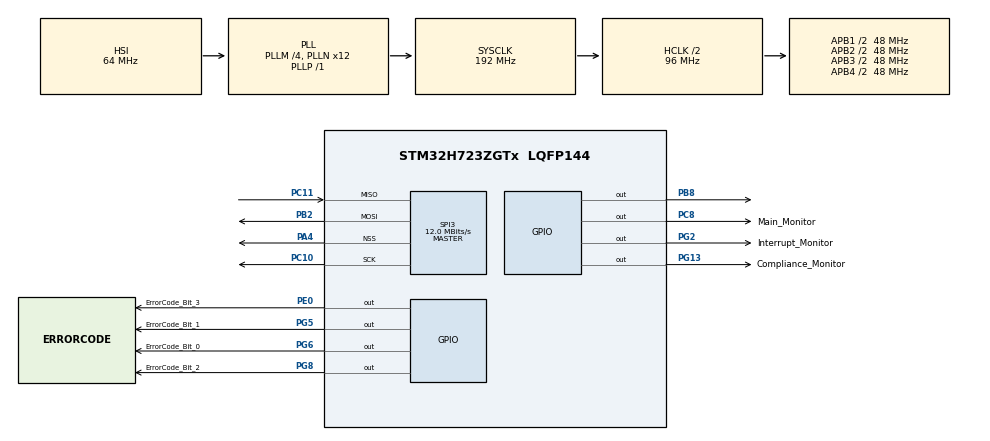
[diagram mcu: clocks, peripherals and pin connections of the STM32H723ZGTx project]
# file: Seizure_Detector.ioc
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CORTEX_M7.default_mode_Activation=1
Dma.Request0=SPI3_RX
Dma.Request1=SPI3_TX
Dma.SPI3_RX.0.Direction=DMA_PERIPH_TO_MEMORY
Dma.SPI3_RX.0.EventEnable=DISABLE
Dma.SPI3_RX.0.FIFOMode=DMA_FIFOMODE_DISABLE
Dma.SPI3_RX.0.Instance=DMA1_Stream0
Dma.SPI3_RX.0.MemDataAlignment=DMA_MDATAALIGN_WORD
Dma.SPI3_RX.0.MemInc=DMA_MINC_ENABLE
Dma.SPI3_RX.0.Mode=DMA_NORMAL
Dma.SPI3_RX.0.PeriphDataAlignment=DMA_PDATAALIGN_WORD
Dma.SPI3_RX.0.PeriphInc=DMA_PINC_DISABLE
Dma.SPI3_RX.0.Polarity=HAL_DMAMUX_REQ_GEN_RISING
Dma.SPI3_RX.0.Priority=DMA_PRIORITY_VERY_HIGH
Dma.SPI3_RX.0.RequestNumber=1
Dma.SPI3_RX.0.SignalID=NONE
Dma.SPI3_RX.0.SyncEnable=DISABLE
Dma.SPI3_RX.0.SyncPolarity=HAL_DMAMUX_SYNC_NO_EVENT
Dma.SPI3_RX.0.SyncRequestNumber=1
Dma.SPI3_RX.0.SyncSignalID=NONE
Dma.SPI3_TX.1.Direction=DMA_MEMORY_TO_PERIPH
Dma.SPI3_TX.1.EventEnable=DISABLE
Dma.SPI3_TX.1.FIFOMode=DMA_FIFOMODE_DISABLE
Dma.SPI3_TX.1.Instance=DMA1_Stream1
Dma.SPI3_TX.1.MemDataAlignment=DMA_MDATAALIGN_WORD
Dma.SPI3_TX.1.MemInc=DMA_MINC_ENABLE
Dma.SPI3_TX.1.Mode=DMA_NORMAL
Dma.SPI3_TX.1.PeriphDataAlignment=DMA_PDATAALIGN_WORD
Dma.SPI3_TX.1.PeriphInc=DMA_PINC_DISABLE
Dma.SPI3_TX.1.Polarity=HAL_DMAMUX_REQ_GEN_RISING
Dma.SPI3_TX.1.Priority=DMA_PRIORITY_VERY_HIGH
Dma.SPI3_TX.1.RequestNumber=1
Dma.SPI3_TX.1.SignalID=NONE
Dma.SPI3_TX.1.SyncEnable=DISABLE
Dma.SPI3_TX.1.SyncPolarity=HAL_DMAMUX_SYNC_NO_EVENT
Dma.SPI3_TX.1.SyncRequestNumber=1
Dma.SPI3_TX.1.SyncSignalID=NONE
Mcu.Family=STM32H7
Mcu.Name=STM32H723ZGTx
Mcu.Package=LQFP144
NUCLEO-H723ZG.BUTTON=1
NUCLEO-H723ZG.Bsp_Common_DEMO=true
NUCLEO-H723ZG.LD1=true
NUCLEO-H723ZG.LD2=true
NUCLEO-H723ZG.LD3=true
NUCLEO-H723ZG.VCP=true
NVIC.DMA1_Stream0_IRQn=true\:0\:0\:false\:false\:true\:false\:true\:true
NVIC.DMA1_Stream1_IRQn=true\:0\:0\:false\:false\:true\:false\:true\:true
NVIC.EXTI15_10_IRQn=true\:0\:0\:false\:false\:true\:false\:true\:true
NVIC.PriorityGroup=NVIC_PRIORITYGROUP_4
NVIC.SPI3_IRQn=true\:0\:0\:false\:false\:true\:false\:true\:true
NVIC.TIM3_IRQn=true\:1\:0\:true\:false\:true\:true\:true\:true
PA13(JTMS/SWDIO).GPIO_Label=SWDIO
PA13(JTMS/SWDIO).Signal=DEBUG_JTMS-SWDIO
PA14(JTCK/SWCLK).GPIO_Label=SWCLK
PA14(JTCK/SWCLK).Signal=DEBUG_JTCK-SWCLK
PA4.GPIO_Speed=GPIO_SPEED_FREQ_VERY_HIGH
PA4.Mode=NSS_Signal_Hard_Output
PA4.Signal=SPI3_NSS
PB2.GPIO_Speed=GPIO_SPEED_FREQ_VERY_HIGH
PB2.Mode=Full_Duplex_Master
PB2.Signal=SPI3_MOSI
PB8.Signal=GPIO_Output
PC10.GPIO_Speed=GPIO_SPEED_FREQ_VERY_HIGH
PC10.Mode=Full_Duplex_Master
PC10.Signal=SPI3_SCK
PC11.GPIO_Speed=GPIO_SPEED_FREQ_VERY_HIGH
PC11.Mode=Full_Duplex_Master
PC11.Signal=SPI3_MISO
PC14-OSC32_IN.Signal=RCC_OSC32_IN
PC15-OSC32_OUT.Signal=RCC_OSC32_OUT
PC8.GPIO_Label=Main_Monitor
PC8.GPIO_Speed=GPIO_SPEED_FREQ_VERY_HIGH
PC8.Signal=GPIO_Output
PD8.Signal=USART3_TX
PD9.Signal=USART3_RX
PE0.GPIO_Label=ErrorCode_Bit_3
PE0.GPIO_Speed=GPIO_SPEED_FREQ_VERY_HIGH
PE0.Signal=GPIO_Output
PG13.GPIO_Label=Compliance_Monitor
PG13.GPIO_Speed=GPIO_SPEED_FREQ_VERY_HIGH
PG13.Signal=GPIO_Output
PG2.GPIO_Label=Interrupt_Monitor
PG2.GPIO_Speed=GPIO_SPEED_FREQ_VERY_HIGH
PG2.Signal=GPIO_Output
PG5.GPIO_Label=ErrorCode_Bit_1
PG5.GPIO_Speed=GPIO_SPEED_FREQ_VERY_HIGH
PG5.Signal=GPIO_Output
PG6.GPIO_Label=ErrorCode_Bit_0
PG6.GPIO_Speed=GPIO_SPEED_FREQ_VERY_HIGH
PG6.Signal=GPIO_Output
PG8.GPIO_Label=ErrorCode_Bit_2
PG8.GPIO_Speed=GPIO_SPEED_FREQ_VERY_HIGH
PG8.Signal=GPIO_Output
ProjectManager.HeapSize=0x200
ProjectManager.StackSize=0x400
ProjectManager.TargetToolchain=STM32CubeIDE
RCC.ADCFreq_Value=608000000
RCC.APB1Freq_Value=48000000
RCC.APB2Freq_Value=48000000
RCC.APB3Freq_Value=48000000
RCC.APB4Freq_Value=48000000
RCC.CortexFreq_Value=192000000
RCC.D1PPRE=RCC_APB3_DIV2
RCC.D2PPRE1=RCC_APB1_DIV2
RCC.D2PPRE2=RCC_APB2_DIV2
RCC.D3PPRE=RCC_APB4_DIV2
RCC.DIVM1=4
RCC.DIVM2=1
RCC.DIVN1=12
RCC.DIVN2=19
RCC.DIVP1=1
RCC.DIVQ1=4
RCC.HCLKFreq_Value=96000000
RCC.HPRE=RCC_HCLK_DIV2
RCC.HSE_VALUE=8000000
RCC.PLLFRACN=0
RCC.SYSCLKFreq_VALUE=192000000
RCC.SYSCLKSource=RCC_SYSCLKSOURCE_PLLCLK
RCC.USBCLockSelection=RCC_USBCLKSOURCE_HSI48
RCC.USBFreq_Value=48000000
SPI3.BaudRatePrescaler=SPI_BAUDRATEPRESCALER_4
SPI3.CalculateBaudRate=12.0 MBits/s
SPI3.DataSize=SPI_DATASIZE_32BIT
SPI3.Direction=SPI_DIRECTION_2LINES
SPI3.MasterInterDataIdleness=SPI_MASTER_INTERDATA_IDLENESS_06CYCLE
SPI3.MasterKeepIOState=SPI_MASTER_KEEP_IO_STATE_ENABLE
SPI3.MasterSSIdleness=SPI_MASTER_SS_IDLENESS_00CYCLE
SPI3.Mode=SPI_MODE_MASTER
SPI3.VirtualNSS=VM_NSSHARD
SPI3.VirtualType=VM_MASTER
TIM3.Channel-Output\ Compare1\ No\ Output=TIM_CHANNEL_1
TIM3.Period=13750
VP_MEMORYMAP_VS_MEMORYMAP.Mode=CurAppReg
VP_NUCLEO-H723ZG_VS_BSP_COMMON.Mode=COMMON
VP_TIM3_VS_no_output1.Mode=Output Compare1 No Output
board=NUCLEO-H723ZG

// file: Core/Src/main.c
/* USER CODE BEGIN Header */
/**
  ******************************************************************************
  * @file           : main.c
  * @brief          : Main program body
  ******************************************************************************
  * @attention
  *
  * Copyright (c) 2026 STMicroelectronics.
  * All rights reserved.
  *
  * This software is licensed under terms that can be found in the LICENSE file
  * in the root directory of this software component.
  * If no LICENSE file comes with this software, it is provided AS-IS.
  *
  ******************************************************************************
  */
/* USER CODE END Header */
#include "main.h"

/* USER CODE BEGIN Includes */
#include "seizure_detect.h"
#include "ied_detect.h"
#include "input_buffer.h"
#include "uart_recieve.h"
#include "user_functions.h"

#include <stdio.h>
#include <stdint.h>
#include <stdbool.h>
#include <inttypes.h>

/* USER CODE END Includes */

COM_InitTypeDef BspCOMInit;
__IO uint32_t BspButtonState = BUTTON_RELEASED;

SPI_HandleTypeDef hspi3;
DMA_HandleTypeDef hdma_spi3_rx;
DMA_HandleTypeDef hdma_spi3_tx;

TIM_HandleTypeDef htim3;

void SystemClock_Config(void);
static void MPU_Config(void);
static void MX_GPIO_Init(void);
static void MX_DMA_Init(void);
static void MX_SPI3_Init(void);
static void MX_TIM3_Init(void);

/* USER CODE BEGIN 0 */
#define BLOCK_SIZE 500
#define SAMP_FREQ 5000
#define SAMP_PERIOD_US (1000000U / SAMP_FREQ)
#define BLOCK_PERIOD_US ((BLOCK_SIZE * 1000000U) / SAMP_FREQ)

static void handle_detect_event(detect_event_t ev, const char *block_name, uint64_t block_time_us){
	switch (ev) {
	case DETECT_SEIZURE_ONSET_LL:
		BSP_LED_Toggle(LED_GREEN);
		printf("LL DETECTED (%s), %lu\r\n", block_name, block_time_us);
		break;

    case DETECT_SEIZURE_ONSET_RMS:
        BSP_LED_Toggle(LED_YELLOW);
        printf("RMS DETECTED (%s), %lu\r\n", block_name, block_time_us);
        break;

    case DETECT_SEIZURE_ONSET_BOTH:
        BSP_LED_Toggle(LED_RED);
        printf("BOTH DETECTED (%s), %lu\r\n", block_name, block_time_us);
        break;

    case DETECT_NO_EVENT:
    default:
        break;
	}
}

static bool rhs_lvds_loopback_test(void){
    uint32_t tx[] = {
        0xA5C33C5AU,
        0xC0FF0000U,
        0x12345678U,
        0x00000000U,
        0xFFFFFFFFU
    };

    uint32_t rx[sizeof(tx) / sizeof(tx[0])] = {0};

    const uint16_t word_count =
        (uint16_t)(sizeof(tx) / sizeof(tx[0]));

    HAL_StatusTypeDef status = HAL_SPI_TransmitReceive(
        &hspi3,
        (const uint8_t *)tx,
        (uint8_t *)rx,
        word_count,
        100U
    );

    if (status != HAL_OK) {
        printf(
            "LVDS loopback failed: status=%d error=0x%08lX\r\n",
            (int)status,
            (unsigned long)HAL_SPI_GetError(&hspi3)
        );
        return false;
    }

    bool passed = true;

    printf("\r\nLVDS round-trip loopback\r\n");

    for (uint32_t i = 0U; i < word_count; i++) {
        printf(
            "[%lu] TX=0x%08lX RX=0x%08lX %s\r\n",
            (unsigned long)i,
            (unsigned long)tx[i],
            (unsigned long)rx[i],
            tx[i] == rx[i] ? "PASS" : "FAIL"
        );

        if (tx[i] != rx[i]) {
            passed = false;
        }
    }

    printf(
        "LVDS round-trip loopback: %s\r\n",
        passed ? "PASS" : "FAIL"
    );

    return passed;
}

static bool rhs_spi_rom_test(void){
	uint32_t spi_tx[7] = {
		read_command(255, false, false),
		read_command(254, false, false),
		read_command(253, false, false),
		read_command(252, false, false),
		read_command(251, false, false),

		/* Two extra commands flush the two-command pipeline. */
		read_command(255, false, false),
		read_command(255, false, false)
	};

	uint32_t spi_rx[7] = {0};

	HAL_StatusTypeDef status = HAL_SPI_TransmitReceive(&hspi3, (const uint8_t *)spi_tx, (uint8_t *)spi_rx, 7U, 100U);

	 if (status != HAL_OK){
		printf("SPI transfer failed: status=%d error=0x%08lX\r\n",
			   (int)status,
			   (unsigned long)HAL_SPI_GetError(&hspi3));

		return false;
	 }

	 printf("\r\nRaw SPI transaction:\r\n");

	 for (uint32_t i = 0U; i < 7U; i++) {
	     printf(
	         "[%" PRIu32 "] TX=0x%08" PRIX32
	         " RX=0x%08" PRIX32 "\r\n",
	         i,
	         spi_tx[i],
	         spi_rx[i]
	     );
	 }

	 /*
	  * The RHS2116 returns each command result two SPI cycles later.
	  *
	  * spi_rx[0] and spi_rx[1] contain previous/undefined pipeline results.
	  * spi_rx[2] is the result of spi_tx[0].
	  * spi_rx[3] is the result of spi_tx[1].
	  * ...
	  * spi_rx[6] is the result of spi_tx[4].
	  *
	  * spi_tx[5] and spi_tx[6] provide the extra clock cycles needed
	  * to receive the final two requested register values.
	  */
	uint16_t chip_id     = (uint16_t)(spi_rx[2] & 0xFFFFU);
	uint16_t revision_ch = (uint16_t)(spi_rx[3] & 0xFFFFU);
	uint16_t intan_nul   = (uint16_t)(spi_rx[4] & 0xFFFFU);
	uint16_t intan_ta    = (uint16_t)(spi_rx[5] & 0xFFFFU);
	uint16_t intan_in    = (uint16_t)(spi_rx[6] & 0xFFFFU);

	printf("\r\nRHS2116 ROM test\r\n");
	printf("Register 255: 0x%04X\r\n", chip_id);
	printf("Register 254: 0x%04X\r\n", revision_ch);
	printf("Register 253: 0x%04X\r\n", intan_nul);
	printf("Register 252: 0x%04X\r\n", intan_ta);
	printf("Register 251: 0x%04X\r\n", intan_in);

	bool passed =
		chip_id == 0x0020U &&
		(revision_ch & 0x00FFU) == 0x0010U &&
		intan_nul == 0x4E00U &&
		intan_ta  == 0x5441U &&
		intan_in  == 0x494EU;

	printf("ROM test: %s\r\n", passed ? "PASS" : "FAIL");

	return passed;
}

/* USER CODE END 0 */

int main(void)
{

  /* USER CODE BEGIN 1 */
	static int32_t buffer_storage[BLOCK_SIZE * 2];
	static input_buffer_t input_buf;
	int32_t *ping_ptr = NULL;
	int32_t *pong_ptr = NULL;

	// Intialization seizure detection structs
	detect_params_t detect_params = {
			.alpha = 0.01f,
			.k_ll = 2.25f,
			.k_rms = 2.25f,
			.min_std = 1.0f,
			.persist_blocks = 8,
			.warmup_blocks = 80,
			.refractory_us = 500000};

	detect_state_t detect_state;
	detect_event_t ev;

	// Intialization IED detection structs
	ied_params_t ied_params = {
	    .fs_hz = SAMP_FREQ,

	    .env_k = 5.0f,
	    .amp_min_k = 10.0f,
	    .amp_artifact_k = 30.0f,

	    .baseline_alpha = 0.00002f,
	    .min_std = 1.0f,

	    .warmup_samples = SAMP_FREQ * 5,     // 1 seconds baseline at SAMP_FREQ kHz
	    .refractory_us = 3000000,         	// 3 seconds

		.envelope_window_samples = (SAMP_FREQ * 5U) / 1000U,    // Samples of envelope smoothing

		.candidate_window_samples = (SAMP_FREQ * 10U) / 1000U, // 10 ms
		.raw_abs_artifact_limit = 9000.0f,                     // for GAIN=1000 and ~±10 mV clipping
	};

	ied_state_t ied_state;

	// Count of how many blocks have been processed
	uint64_t block_time_us = 0;

  /* USER CODE END 1 */

  /* MPU Configuration--------------------------------------------------------*/
  MPU_Config();

  /* MCU Configuration--------------------------------------------------------*/

  /* Reset of all peripherals, Initializes the Flash interface and the Systick. */
  HAL_Init();

  /* Configure the system clock */
  SystemClock_Config();

  // Wait for 500 ms after program starts.
  // This is due to a STM32CubeIDE-related bug that runs previously loaded software briefly on the target device
  // before running the new software when downloading and running new code. This doesn't happen when triggering a hardware
  // reset, for example pushing the RESET button on a NUCLEO board, or when downloading/running using
  // STM32CubeProgrammer. For these cases, this delay can be removed.
  // When this bug does occur, we recommend including a delay of ~500 ms so that this brief running of the previously
  // loaded program doesn't have any interaction with any peripherals and this re-run program does nothing important.
  // In practice, 50 ms is likely enough of a pause from our testing, but 500 ms is even safer.
  wait_ms(500);

  /* Initialize all configured peripherals */
  MX_GPIO_Init();
  MX_DMA_Init();
  MX_SPI3_Init();
  MX_TIM3_Init();

  /* Stop here so the normal acquisition code does not start. */
//  while (1) {
//      HAL_Delay(1000U);
//  }

  // Write register value to pause all used timers when execution pauses during debug
  SET_BIT(DBGMCU->APB1LFZ1, 0b10); // enable pausing TIM3 during debug

  // Allocate sample_memory array which will be used to store acquired data.
  allocate_sample_memory();

  // Set up SPI DMA configuration for when SPI transfers begin.
  initialize_spi_with_dma();

  initialize_stim_sequences();
  initialize_command_buffer();

  // Initialize Intan chip registers with suitable settings for this application.
  // This not only determines the initial registers, but actually writes them via SPI.
  configure_registers();

  // Populate first CONVERT_COMMANDS_PER_SEQUENCE that will repeatedly
  // convert for each sample interrupt.
  // Note that this doesn't touch the aux commands in command_sequence_MOSI.
  configure_convert_commands();

#ifdef AUTO_STIM_CMD_MODE
  configure_stim_sequences();
  process_stim_sequences();
#else
  configure_aux_commands();
#endif

  copy_next_aux_commands_to_MOSI();

  /* USER CODE END 2 */

  /* Initialize leds */
  BSP_LED_Init(LED_GREEN);
  BSP_LED_Init(LED_YELLOW);
  BSP_LED_Init(LED_RED);

  /* Initialize USER push-button, will be used to trigger an interrupt each time it's pressed.*/
  BSP_PB_Init(BUTTON_USER, BUTTON_MODE_EXTI);

  /* Initialize COM1 port (921600, 8 bits (7-bit data + 1 stop bit), no parity */
  BspCOMInit.BaudRate   = 921600;
  BspCOMInit.WordLength = COM_WORDLENGTH_8B;
  BspCOMInit.StopBits   = COM_STOPBITS_1;
  BspCOMInit.Parity     = COM_PARITY_NONE;
  BspCOMInit.HwFlowCtl  = COM_HWCONTROL_NONE;
  if (BSP_COM_Init(COM1, &BspCOMInit) != BSP_ERROR_NONE)
  {
    Error_Handler();
  }

  /* USER CODE BEGIN BSP */
  /* Initialize buffer and UART RX module */
//  buffer_init(&input_buf, buffer_storage, SAMP_FREQ, BLOCK_SIZE);
  HAL_NVIC_SetPriority(USART3_IRQn, 2, 0);
  HAL_NVIC_EnableIRQ(USART3_IRQn);
//  uart_rx_init(&input_buf);
//  detect_init(&detect_state, &detect_params);
//  ied_init(&ied_state, &ied_params);
//  uart_rx_start();

  /* USER CODE BEGIN 2 */
//  printf("\r\nStarting RHS2116 SPI ROM test...\r\n");
//
//    /*
//     * Give the headstage and interface electronics time to settle
//     * before issuing the first command.
//     */
//  HAL_Delay(100U);
//
//  bool rhs_detected = false;
//
//  for (uint32_t attempt = 1U; attempt <= 50U; attempt++){
//	  printf("ROM test attempt %" PRIu32 "...\r\n", attempt);
//
//	  rhs_detected = rhs_spi_rom_test();
//
//	  if (rhs_detected){
//		  printf("PASSED!!");
//	  }
//
//  }
//
//  BSP_LED_Off(LED_GREEN);
//  BSP_LED_Off(LED_YELLOW);
//  BSP_LED_Off(LED_RED);
//
//  if (rhs_detected){
//	  BSP_LED_On(LED_GREEN);
//  }
//
//  else{
//	  BSP_LED_On(LED_RED);
//  }
//
//  // Turn on LED to indicate acquisition is about to start.
//  BSP_LED_On(LED_GREEN);

  // Start timer so that at every period defined by INTERRUPT_TIM, an interrupt occurs, starting an SPI command sequence.
  sample_counter = 0;
  sample_interrupt_occurred = false;
  enable_interrupt_timer(true);
  main_loop_active = true;
  main_pin_status = false;

  /* USER CODE END BSP */

  /* Infinite loop */
  /* USER CODE BEGIN WHILE */
  while (1){
	  // Break infinite loop when loop_escape() condition has been met.
	  if (loop_escape()) break;

	  // During infinite loop, monitor if GPIO pin needs writing from low to high
	  if (main_loop_active && !main_pin_status) {
		  write_pin(Main_Monitor_GPIO_Port, Main_Monitor_Pin, true);
		  main_pin_status = true;
	  }

	  if (sample_interrupt_occurred) {
		  sample_processing_routine();
	  }

//	  if (input_buf.ping_ready){
//		  input_buf.ping_ready = 0;
//		  ping_ptr = buffer_get_ping_ptr(&input_buf);
//
//		  // Sample-by-sample IED detection inside this block
//		  for (uint32_t i = 0; i < BLOCK_SIZE; i++) {
//			  uint64_t sample_time_us = block_time_us + ((uint64_t)i * SAMP_PERIOD_US);
//			  uint32_t t_sec = (uint32_t)(sample_time_us / 1000000ULL);
//			  uint32_t t_usec = (uint32_t)(sample_time_us % 1000000ULL);
//
//			  detect_ied_event_t ied_ev = ied_process_sample(&ied_state,
//													  ping_ptr[i],
//													  sample_time_us);
//
//			  if (ied_ev == IED_DETECTED) {
//				  BSP_LED_Toggle(LED_RED);
//				  //printf("IED DETECTED (ping), %lu\r\n", (unsigned long)sample_time_us);
//				  printf("IED DETECTED (ping), %lu.%06lu\r\n",
//						 (unsigned long)t_sec,
//						 (unsigned long)t_usec);
//			  } else if (ied_ev == IED_REJECTED_LOW_AMPLITUDE) {
//				  BSP_LED_Toggle(LED_YELLOW);
//				  printf("IED REJECTED LOW AMP (ping), %lu env=%ld thresh=%ld amp=%ld amin=%ld\r\n",
//						  (unsigned long)sample_time_us,
//						 (int32_t)ied_state.last_envelope,
//						 (int32_t)ied_state.last_env_thresh,
//						 (int32_t)ied_state.last_amp_hp,
//						 (int32_t)ied_state.last_amp_min_thresh);
//			  } else if (ied_ev == IED_REJECTED_ARTIFACT) {
//				  BSP_LED_Toggle(LED_GREEN);
//				  printf("IED REJECTED ARTIFACT (ping), %lu.%06lu\r\n",
//						 (unsigned long)t_sec,
//						 (unsigned long)t_usec);
//			  }
//		  }
//	  /* Seizure Detection component
//	   *
//	   * ev = detect_process_block(&detect_state, ping_ptr, BLOCK_SIZE, block_time_us);
//	   *
//	   * handle_detect_event(ev, "ping", block_time_us);
//	   */
//
//		// process ping block here
//		block_time_us += BLOCK_PERIOD_US;
//
//	  }
//
//	  if (input_buf.pong_ready){
//		  input_buf.pong_ready = 0;
//		  pong_ptr = buffer_get_pong_ptr(&input_buf);
//		  // Sample-by-sample IED detection inside this block
//		  for (uint32_t i = 0; i < BLOCK_SIZE; i++) {
//			  uint64_t sample_time_us = block_time_us + ((uint64_t)i * SAMP_PERIOD_US);
//			  uint32_t t_sec = (uint32_t)(sample_time_us / 1000000ULL);
//			  uint32_t t_usec = (uint32_t)(sample_time_us % 1000000ULL);
//
//
//			  detect_ied_event_t ied_ev = ied_process_sample(&ied_state,
//													  pong_ptr[i],
//													  sample_time_us);
//
//			  if (ied_ev == IED_DETECTED) {
//				  BSP_LED_Toggle(LED_RED);
//				  printf("IED DETECTED (pong), %lu.%06lu\r\n",
//				         (unsigned long)t_sec,
//				         (unsigned long)t_usec);
//			  } else if (ied_ev == IED_REJECTED_LOW_AMPLITUDE) {
//				  BSP_LED_Toggle(LED_YELLOW);
//				  printf("IED REJECTED LOW AMP (pong), %lu env=%ld thresh=%ld amp=%ld amin=%ld\r\n",
//						  (unsigned long)sample_time_us,
//						 (int32_t)ied_state.last_envelope,
//						 (int32_t)ied_state.last_env_thresh,
//						 (int32_t)ied_state.last_amp_hp,
//						 (int32_t)ied_state.last_amp_min_thresh);
//			  } else if (ied_ev == IED_REJECTED_ARTIFACT) {
//				  BSP_LED_Toggle(LED_GREEN);
//				  printf("IED REJECTED ARTIFACT (pong), %lu.%06lu\r\n",
//				         (unsigned long)t_sec,
//				         (unsigned long)t_usec);
//			  }
//		  }
//
//		  // Existing block-based seizure detection
//		  /* Seizure Detection component
//		   *  ev = detect_process_block(&detect_state, pong_ptr, BLOCK_SIZE, block_time_us);
//		   *
//		   * handle_detect_event(ev, "pong", block_time_us);
//		   *
//		   */
//
//		  block_time_us += BLOCK_PERIOD_US;
//
//	  }
    /* USER CODE END WHILE */

  }
}

void SystemClock_Config(void)
{
  RCC_OscInitTypeDef RCC_OscInitStruct = {0};
  RCC_ClkInitTypeDef RCC_ClkInitStruct = {0};

  /** Supply configuration update enable
  */
  HAL_PWREx_ConfigSupply(PWR_LDO_SUPPLY);

  /** Configure the main internal regulator output voltage
  */
  __HAL_PWR_VOLTAGESCALING_CONFIG(PWR_REGULATOR_VOLTAGE_SCALE2);

  while(!__HAL_PWR_GET_FLAG(PWR_FLAG_VOSRDY)) {}

  /** Initializes the RCC Oscillators according to the specified parameters
  * in the RCC_OscInitTypeDef structure.
  */
  RCC_OscInitStruct.OscillatorType = RCC_OSCILLATORTYPE_HSI;
  RCC_OscInitStruct.HSIState = RCC_HSI_DIV1;
  RCC_OscInitStruct.HSICalibrationValue = 64;
  RCC_OscInitStruct.PLL.PLLState = RCC_PLL_ON;
  RCC_OscInitStruct.PLL.PLLSource = RCC_PLLSOURCE_HSI;
  RCC_OscInitStruct.PLL.PLLM = 4;
  RCC_OscInitStruct.PLL.PLLN = 12;
  RCC_OscInitStruct.PLL.PLLP = 1;
  RCC_OscInitStruct.PLL.PLLQ = 4;
  RCC_OscInitStruct.PLL.PLLR = 2;
  RCC_OscInitStruct.PLL.PLLRGE = RCC_PLL1VCIRANGE_3;
  RCC_OscInitStruct.PLL.PLLVCOSEL = RCC_PLL1VCOWIDE;
  RCC_OscInitStruct.PLL.PLLFRACN = 0;
  if (HAL_RCC_OscConfig(&RCC_OscInitStruct) != HAL_OK)
  {
    Error_Handler();
  }

  /** Initializes the CPU, AHB and APB buses clocks
  */
  RCC_ClkInitStruct.ClockType = RCC_CLOCKTYPE_HCLK|RCC_CLOCKTYPE_SYSCLK
                              |RCC_CLOCKTYPE_PCLK1|RCC_CLOCKTYPE_PCLK2
                              |RCC_CLOCKTYPE_D3PCLK1|RCC_CLOCKTYPE_D1PCLK1;
  RCC_ClkInitStruct.SYSCLKSource = RCC_SYSCLKSOURCE_PLLCLK;
  RCC_ClkInitStruct.SYSCLKDivider = RCC_SYSCLK_DIV1;
  RCC_ClkInitStruct.AHBCLKDivider = RCC_HCLK_DIV2;
  RCC_ClkInitStruct.APB3CLKDivider = RCC_APB3_DIV2;
  RCC_ClkInitStruct.APB1CLKDivider = RCC_APB1_DIV2;
  RCC_ClkInitStruct.APB2CLKDivider = RCC_APB2_DIV2;
  RCC_ClkInitStruct.APB4CLKDivider = RCC_APB4_DIV2;

  if (HAL_RCC_ClockConfig(&RCC_ClkInitStruct, FLASH_LATENCY_1) != HAL_OK)
  {
    Error_Handler();
  }
}

static void MX_SPI3_Init(void)
{

  /* SPI3 parameter configuration*/
  hspi3.Instance = SPI3;
  hspi3.Init.Mode = SPI_MODE_MASTER;
  hspi3.Init.Direction = SPI_DIRECTION_2LINES;
  hspi3.Init.DataSize = SPI_DATASIZE_32BIT;
  hspi3.Init.CLKPolarity = SPI_POLARITY_LOW;
  hspi3.Init.CLKPhase = SPI_PHASE_1EDGE;
  hspi3.Init.NSS = SPI_NSS_HARD_OUTPUT;
  hspi3.Init.BaudRatePrescaler = SPI_BAUDRATEPRESCALER_4;
  hspi3.Init.FirstBit = SPI_FIRSTBIT_MSB;
  hspi3.Init.TIMode = SPI_TIMODE_DISABLE;
  hspi3.Init.CRCCalculation = SPI_CRCCALCULATION_DISABLE;
  hspi3.Init.CRCPolynomial = 0x0;
  hspi3.Init.NSSPMode = SPI_NSS_PULSE_ENABLE;
  hspi3.Init.NSSPolarity = SPI_NSS_POLARITY_LOW;
  hspi3.Init.FifoThreshold = SPI_FIFO_THRESHOLD_01DATA;
  hspi3.Init.TxCRCInitializationPattern = SPI_CRC_INITIALIZATION_ALL_ZERO_PATTERN;
  hspi3.Init.RxCRCInitializationPattern = SPI_CRC_INITIALIZATION_ALL_ZERO_PATTERN;
  hspi3.Init.MasterSSIdleness = SPI_MASTER_SS_IDLENESS_00CYCLE;
  hspi3.Init.MasterInterDataIdleness = SPI_MASTER_INTERDATA_IDLENESS_06CYCLE;
  hspi3.Init.MasterReceiverAutoSusp = SPI_MASTER_RX_AUTOSUSP_DISABLE;
  hspi3.Init.MasterKeepIOState = SPI_MASTER_KEEP_IO_STATE_ENABLE;
  hspi3.Init.IOSwap = SPI_IO_SWAP_DISABLE;
  if (HAL_SPI_Init(&hspi3) != HAL_OK)
  {
    Error_Handler();
  }

}

static void MX_TIM3_Init(void)
{

  TIM_MasterConfigTypeDef sMasterConfig = {0};
  TIM_OC_InitTypeDef sConfigOC = {0};

  htim3.Instance = TIM3;
  htim3.Init.Prescaler = 0;
  htim3.Init.CounterMode = TIM_COUNTERMODE_UP;
  htim3.Init.Period = 19199; 					// 96 MHz / 5000 Hz - 1 = 19199
  htim3.Init.ClockDivision = TIM_CLOCKDIVISION_DIV1;
  htim3.Init.AutoReloadPreload = TIM_AUTORELOAD_PRELOAD_DISABLE;
  if (HAL_TIM_OC_Init(&htim3) != HAL_OK)
  {
    Error_Handler();
  }
  sMasterConfig.MasterOutputTrigger = TIM_TRGO_RESET;
  sMasterConfig.MasterSlaveMode = TIM_MASTERSLAVEMODE_DISABLE;
  if (HAL_TIMEx_MasterConfigSynchronization(&htim3, &sMasterConfig) != HAL_OK)
  {
    Error_Handler();
  }
  sConfigOC.OCMode = TIM_OCMODE_TIMING;
  sConfigOC.Pulse = 0;
  sConfigOC.OCPolarity = TIM_OCPOLARITY_HIGH;
  sConfigOC.OCFastMode = TIM_OCFAST_DISABLE;
  if (HAL_TIM_OC_ConfigChannel(&htim3, &sConfigOC, TIM_CHANNEL_1) != HAL_OK)
  {
    Error_Handler();
  }

}

static void MX_DMA_Init(void)
{

  /* DMA controller clock enable */
  __HAL_RCC_DMA1_CLK_ENABLE();

  /* DMA interrupt init */
  /* DMA1_Stream0_IRQn interrupt configuration */
  HAL_NVIC_SetPriority(DMA1_Stream0_IRQn, 0, 0);
  HAL_NVIC_EnableIRQ(DMA1_Stream0_IRQn);
  /* DMA1_Stream1_IRQn interrupt configuration */
  HAL_NVIC_SetPriority(DMA1_Stream1_IRQn, 0, 0);
  HAL_NVIC_EnableIRQ(DMA1_Stream1_IRQn);

}

static void MX_GPIO_Init(void)
{
  GPIO_InitTypeDef GPIO_InitStruct = {0};

  /* GPIO Ports Clock Enable */
  __HAL_RCC_GPIOC_CLK_ENABLE();
  __HAL_RCC_GPIOA_CLK_ENABLE();
  __HAL_RCC_GPIOB_CLK_ENABLE();
  __HAL_RCC_GPIOG_CLK_ENABLE();
  __HAL_RCC_GPIOE_CLK_ENABLE();

  /*Configure GPIO pin Output Level */
  HAL_GPIO_WritePin(GPIOG, Interrupt_Monitor_Pin|ErrorCode_Bit_1_Pin|ErrorCode_Bit_0_Pin|ErrorCode_Bit_2_Pin
                          |Compliance_Monitor_Pin, GPIO_PIN_RESET);

  /*Configure GPIO pin Output Level */
  HAL_GPIO_WritePin(Main_Monitor_GPIO_Port, Main_Monitor_Pin, GPIO_PIN_RESET);

  /*Configure GPIO pin Output Level */
  HAL_GPIO_WritePin(GPIOB, GPIO_PIN_8, GPIO_PIN_RESET);

  /*Configure GPIO pin Output Level */
  HAL_GPIO_WritePin(ErrorCode_Bit_3_GPIO_Port, ErrorCode_Bit_3_Pin, GPIO_PIN_RESET);

  /*Configure GPIO pins : Interrupt_Monitor_Pin ErrorCode_Bit_1_Pin ErrorCode_Bit_0_Pin ErrorCode_Bit_2_Pin
                           Compliance_Monitor_Pin */
  GPIO_InitStruct.Pin = Interrupt_Monitor_Pin|ErrorCode_Bit_1_Pin|ErrorCode_Bit_0_Pin|ErrorCode_Bit_2_Pin
                          |Compliance_Monitor_Pin;
  GPIO_InitStruct.Mode = GPIO_MODE_OUTPUT_PP;
  GPIO_InitStruct.Pull = GPIO_NOPULL;
  GPIO_InitStruct.Speed = GPIO_SPEED_FREQ_VERY_HIGH;
  HAL_GPIO_Init(GPIOG, &GPIO_InitStruct);

  /*Configure GPIO pin : Main_Monitor_Pin */
  GPIO_InitStruct.Pin = Main_Monitor_Pin;
  GPIO_InitStruct.Mode = GPIO_MODE_OUTPUT_PP;
  GPIO_InitStruct.Pull = GPIO_NOPULL;
  GPIO_InitStruct.Speed = GPIO_SPEED_FREQ_VERY_HIGH;
  HAL_GPIO_Init(Main_Monitor_GPIO_Port, &GPIO_InitStruct);

  /*Configure GPIO pin : PB8 */
  GPIO_InitStruct.Pin = GPIO_PIN_8;
  GPIO_InitStruct.Mode = GPIO_MODE_OUTPUT_PP;
  GPIO_InitStruct.Pull = GPIO_NOPULL;
  GPIO_InitStruct.Speed = GPIO_SPEED_FREQ_LOW;
  HAL_GPIO_Init(GPIOB, &GPIO_InitStruct);

  /*Configure GPIO pin : ErrorCode_Bit_3_Pin */
  GPIO_InitStruct.Pin = ErrorCode_Bit_3_Pin;
  GPIO_InitStruct.Mode = GPIO_MODE_OUTPUT_PP;
  GPIO_InitStruct.Pull = GPIO_NOPULL;
  GPIO_InitStruct.Speed = GPIO_SPEED_FREQ_VERY_HIGH;
  HAL_GPIO_Init(ErrorCode_Bit_3_GPIO_Port, &GPIO_InitStruct);

}

/* USER CODE BEGIN 4 */

void HAL_UART_RxCpltCallback(UART_HandleTypeDef *huart)
{
    uart_rx_irq_handler(huart);
}

void HAL_UART_ErrorCallback(UART_HandleTypeDef *huart)
{
    if (huart->Instance == USART3) {
        uart_rx_start();
    }
}

/* USER CODE END 4 */

 /* MPU Configuration */

void MPU_Config(void)
{
  MPU_Region_InitTypeDef MPU_InitStruct = {0};

  /* Disables the MPU */
  HAL_MPU_Disable();

  /** Initializes and configures the Region and the memory to be protected
  */
  MPU_InitStruct.Enable = MPU_REGION_ENABLE;
  MPU_InitStruct.Number = MPU_REGION_NUMBER0;
  MPU_InitStruct.BaseAddress = 0x0;
  MPU_InitStruct.Size = MPU_REGION_SIZE_4GB;
  MPU_InitStruct.SubRegionDisable = 0x87;
  MPU_InitStruct.TypeExtField = MPU_TEX_LEVEL0;
  MPU_InitStruct.AccessPermission = MPU_REGION_NO_ACCESS;
  MPU_InitStruct.DisableExec = MPU_INSTRUCTION_ACCESS_DISABLE;
  MPU_InitStruct.IsShareable = MPU_ACCESS_SHAREABLE;
  MPU_InitStruct.IsCacheable = MPU_ACCESS_NOT_CACHEABLE;
  MPU_InitStruct.IsBufferable = MPU_ACCESS_NOT_BUFFERABLE;

  HAL_MPU_ConfigRegion(&MPU_InitStruct);
  /* Enables the MPU */
  HAL_MPU_Enable(MPU_PRIVILEGED_DEFAULT);

}

/**
  * @brief BSP Push Button callback
  * @param Button Specifies the pressed button
  * @retval None
  */
void BSP_PB_Callback(Button_TypeDef Button)
{
  if (Button == BUTTON_USER)
  {
    BspButtonState = BUTTON_PRESSED;
  }
}

void Error_Handler(void)
{
  __disable_irq();
  while (1)
  {
  }
}
